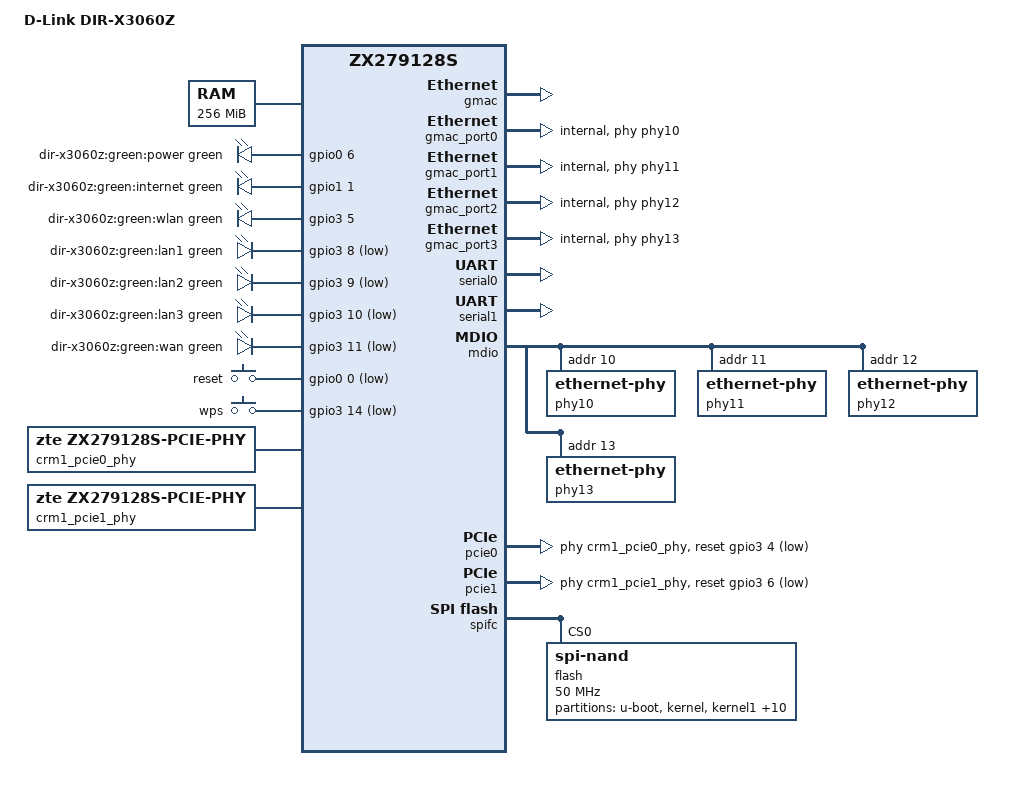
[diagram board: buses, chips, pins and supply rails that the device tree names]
// SPDX-License-Identifier: GPL-2.0-only OR BSD-2-Clause
/*
 * D-Link DIR-X3060Z (HW V1.0, TM / Unifi Malaysia AX3000 Wi-Fi 6 Router)
 * SoC       : Sanechips / ZTE ZX279128R (cputype=3, 128s family, dual Cortex-A9 @ 1 GHz, no VFP/NEON)
 * RAM       : 256 MiB DDR3 (ESMT M15T2G16128A)
 * Flash     : 128 MiB 3.3V SPI-NAND (ESMT F50L1G41LB, 2 KiB page, 128 KiB eraseblock)
 * Wi-Fi     : MediaTek Filogic 630 (MT7916AN + MT7976DN/DM, PCIe0 14c3:7906 + PCIe1 14c3:790a)
 * Ethernet  : 1x GbE WAN + 3x GbE LAN (4x integrated Sanechips GbE PHYs at MDIO 0xa..0xd)
 * Bootloader: U-Boot CTCRV1.0.0 (20220808184253, non-secure, 0x1E0 slot header + legacy uImage)
 *
 * All memory addresses, MTD partition offsets (from vmlinux 0xc042d918), MDIO PHY addresses
 * (from vmlinux uni_phy @ 0xc05d1a90 = {0x0d, 0x0a, 0x0b, 0x0c}), and GPIO tables
 * (from vmlinux 0xc05ba580 / 0xc05bab80, Board ID 0x47 ZX279128R / F628S) were verified
 * directly from a full 128 MiB flash dump of a live unit.
 */

/dts-v1/;

#include "zte/zx279128s.dtsi"
#include <dt-bindings/gpio/gpio.h>
#include <dt-bindings/input/input.h>
#include <dt-bindings/leds/common.h>

/ {
	model = "D-Link DIR-X3060Z";
	compatible = "dlink,dir-x3060z", "zte,zx279128r", "zte,zx279128s";

	aliases {
		ethernet0 = &gmac;
		serial0 = &serial0;
		serial1 = &serial1;
		led-boot = &led_power;
		led-failsafe = &led_power;
		led-running = &led_power;
		led-upgrade = &led_internet;
	};

	chosen {
		stdout-path = "serial0:115200n8";
	};

	memory@40000000 {
		device_type = "memory";
		reg = <0x40000000 0x10000000>; /* 256 MiB DDR3 */
	};

	leds {
		compatible = "gpio-leds";

		/*
		 * GPIO table extracted from stock vmlinux.bin @ 0xc05ba580 (Board ID 0x47,
		 * ZX279128R / F628S) + bspdriver.ko (hw_led_wlan_mtk -> slot 61):
		 *   Flat GPIO = bank * 16 + pin (6 banks gpio0..gpio5 of 16 lines each)
		 *   - Flat GPIO  6 (&gpio0  6): Output / Power LED (ACTIVE_HIGH, slot 53)
		 *   - Flat GPIO 17 (&gpio1  1): Output / Internet LED (ACTIVE_HIGH, slot 4)
		 *   - Flat GPIO 53 (&gpio3  5): Output / Wi-Fi LED (ACTIVE_HIGH, slot 61)
		 *   - Flat GPIO 56..59 (&gpio3 8..11): Hardware-driven GbE LAN1..3 / WAN PHY LEDs
		 */
		led_power: led-power {
			label = "dir-x3060z:green:power";
			color = <LED_COLOR_ID_GREEN>;
			function = LED_FUNCTION_POWER;
			gpios = <&gpio0 6 GPIO_ACTIVE_HIGH>;
			default-state = "on";
		};

		led_internet: led-internet {
			label = "dir-x3060z:green:internet";
			color = <LED_COLOR_ID_GREEN>;
			function = LED_FUNCTION_WAN_ONLINE;
			gpios = <&gpio1 1 GPIO_ACTIVE_HIGH>;
			default-state = "off";
		};

		led_wlan: led-wlan {
			label = "dir-x3060z:green:wlan";
			color = <LED_COLOR_ID_GREEN>;
			function = LED_FUNCTION_WLAN;
			gpios = <&gpio3 5 GPIO_ACTIVE_HIGH>;
			default-state = "off";
		};

		led_lan1: led-lan1 {
			label = "dir-x3060z:green:lan1";
			color = <LED_COLOR_ID_GREEN>;
			function = LED_FUNCTION_LAN;
			gpios = <&gpio3 8 GPIO_ACTIVE_LOW>;
			default-state = "off";
		};

		led_lan2: led-lan2 {
			label = "dir-x3060z:green:lan2";
			color = <LED_COLOR_ID_GREEN>;
			function = LED_FUNCTION_LAN;
			gpios = <&gpio3 9 GPIO_ACTIVE_LOW>;
			default-state = "off";
		};

		led_lan3: led-lan3 {
			label = "dir-x3060z:green:lan3";
			color = <LED_COLOR_ID_GREEN>;
			function = LED_FUNCTION_LAN;
			gpios = <&gpio3 10 GPIO_ACTIVE_LOW>;
			default-state = "off";
		};

		led_wan_port: led-wan-port {
			label = "dir-x3060z:green:wan";
			color = <LED_COLOR_ID_GREEN>;
			function = LED_FUNCTION_WAN;
			gpios = <&gpio3 11 GPIO_ACTIVE_LOW>;
			default-state = "off";
		};
	};

	keys {
		/*
		 * Polled mode is mandatory on ZX279128S/R: IRQ mode on the ZTE GPIO
		 * controller triggers an RCU lockup on button press.
		 * Input pins from vmlinux @ 0xc05ba690 (Board ID 0x47):
		 *   - Flat GPIO  0 (&gpio0  0): Input 1 (Reset)
		 *   - Flat GPIO 62 (&gpio3 14): Input 2 (WPS / Mesh)
		 *   - Flat GPIO  5 (&gpio0  5): Candidate Input on sibling 0x48/0x4a
		 */
		compatible = "gpio-keys-polled";
		poll-interval = <50>;

		key-reset {
			label = "reset";
			gpios = <&gpio0 0 GPIO_ACTIVE_LOW>;
			linux,code = <KEY_RESTART>;
			debounce-interval = <60>;
		};

		key-wps {
			label = "wps";
			gpios = <&gpio3 14 GPIO_ACTIVE_LOW>;
			linux,code = <KEY_WPS_BUTTON>;
			debounce-interval = <60>;
		};
	};
};

/*
 * 4x integrated Gigabit PHYs confirmed from stock vmlinux uni_phy @ 0xc05d1a90
 * ({0x0d, 0x0a, 0x0b, 0x0c}) and /proc/interrupts (gephy0..gephy3 on GIC 71..74).
 * Factory MAC addresses live inside the JFFS2 file /tagparam/paramtag (mtd "tagparam"
 * at flash offset 0x04c00000, file offset +0x36 = c8:78:7d:52:d6:04 .. +0x66 = d6:08)
 * and are applied by /etc/board.d/02_network.
 */
&gmac {
	interrupts = <GIC_SPI 36 IRQ_TYPE_LEVEL_HIGH>,
		     <GIC_SPI 38 IRQ_TYPE_LEVEL_HIGH>;
	status = "okay";
};

&gmac_port0 {
	label = "wan";
	phy-handle = <&phy10>;
	phy-mode = "internal";
	status = "okay";
};

&gmac_port1 {
	label = "lan1";
	phy-handle = <&phy11>;
	phy-mode = "internal";
	status = "okay";
};

&gmac_port2 {
	label = "lan2";
	phy-handle = <&phy12>;
	phy-mode = "internal";
	status = "okay";
};

&gmac_port3 {
	label = "lan3";
	phy-handle = <&phy13>;
	phy-mode = "internal";
	status = "okay";
};

&gmac_port4 {
	status = "disabled";
};

&serial0 {
	status = "okay";
};

&serial1 {
	status = "okay";
};

&mdio {
	status = "okay";

	phy10: ethernet-phy@a {
		reg = <10>;
	};

	phy11: ethernet-phy@b {
		reg = <11>;
	};

	phy12: ethernet-phy@c {
		reg = <12>;
	};

	phy13: ethernet-phy@d {
		reg = <13>;
	};
};

/*
 * MediaTek Filogic 630 (MT7916AN + MT7976DN/DM) dual-band Wi-Fi 6:
 *   PCIe0 (0000:00:00.0, 14c3:7906, mem 0x10000000, GIC 95) — reset GPIO 52 (&gpio3 4)
 *   PCIe1 (0000:01:00.0, 14c3:790a, mem 0x20000000, GIC 110) — reset GPIO 54 (&gpio3 6)
 * Calibration data is stored in mtd "wlan" (0x05400000) as /wlan/MT7916_EEPROM.bin.
 */
&pcie0 {
	reset-gpios = <&gpio3 4 GPIO_ACTIVE_LOW>;
	enable-gpios = <&gpio3 7 GPIO_ACTIVE_HIGH>;
	phys = <&crm1_pcie0_phy>;
	phy-names = "pcie";
	status = "okay";
};

&pcie1 {
	reset-gpios = <&gpio3 6 GPIO_ACTIVE_LOW>;
	phys = <&crm1_pcie1_phy>;
	phy-names = "pcie";
	status = "okay";
};

/ {
	soc {
		crm1: syscon@94000000 {
			compatible = "syscon", "simple-mfd";
			reg = <0x94000000 0x1000>;
			#address-cells = <1>;
			#size-cells = <0>;

			reboot {
				compatible = "syscon-reboot";
				offset = <0x44>;
				mask = <0x1>;
				value = <0x1>;
			};

			crm1_pcie0_phy: phy@0 {
				compatible = "zte,zx279128s-pcie-phy";
				reg = <0>;
				#phy-cells = <0>;
			};

			crm1_pcie1_phy: phy@1 {
				compatible = "zte,zx279128s-pcie-phy";
				reg = <1>;
				#phy-cells = <0>;
			};
		};
	};
};

/* No USB port is populated on the DIR-X3060Z PCB. */
&usb {
	status = "disabled";
};

&spifc {
	status = "okay";

	flash@0 {
		compatible = "spi-nand";
		reg = <0>;
		spi-max-frequency = <50000000>;
		spi-rx-bus-width = <2>;
		spi-tx-bus-width = <1>;

		/*
		 * ESMT F50L1G41LB (128 MiB, 2 KiB page, 128 KiB erase block).
		 *
		 * Exact hardware partition table extracted from stock vmlinux.bin @ 0xc042d918:
		 *   0x00000000 .. 0x00200000 ( 2 MiB): u-boot          (stock mtd1)
		 *   0x00200000 .. 0x00700000 ( 5 MiB): kernel0         (stock mtd3, Slot 0 kernel)
		 *   0x00700000 .. 0x00c00000 ( 5 MiB): kernel1         (stock mtd4, Slot 1 kernel)
		 *   0x00c00000 .. 0x02c00000 (32 MiB): rootfs0         (stock mtd5, Slot 0 rootfs)
		 *   0x02c00000 .. 0x04c00000 (32 MiB): rootfs1         (stock mtd6, Slot 1 rootfs)
		 *   0x04c00000 .. 0x04e00000 ( 2 MiB): parameter_tags  (stock mtd2, /tagparam JFFS2)
		 *   0x04e00000 .. 0x05300000 ( 5 MiB): usercfg         (stock mtd7, /userconfig JFFS2)
		 *   0x05300000 .. 0x05400000 ( 1 MiB): others          (stock mtd8, BootImageNum selector)
		 *   0x05400000 .. 0x05700000 ( 3 MiB): wlan            (stock mtd9, /wlan JFFS2 caldata)
		 *   0x05700000 .. 0x05800000 ( 1 MiB): middleware      (stock mtd10)
		 *   0x05800000 .. 0x06000000 ( 8 MiB): framework       (stock mtd11)
		 *   0x06000000 .. 0x06800000 ( 8 MiB): framework1      (stock mtd12)
		 *   0x06800000 .. 0x07800000 (16 MiB): apps            (stock mtd13, UBIFS)
		 *   0x07800000 .. 0x08000000 ( 8 MiB): BBT / reserved
		 *
		 * OpenWrt is installed in Slot 0 (kernel @ 0x00200000 + rootfs @ 0x00c00000),
		 * preserving the active stock firmware in Slot 1 (kernel1 @ 0x00700000 +
		 * rootfs1 @ 0x02c00000) untouched for dual-slot rollback via "others".
		 * Unlike the E2631, U-Boot CTCRV1.0.0 only checks the 0x1E0 header CRC and
		 * kernel CRC at boot time (never rootfs CRC), so OpenWrt's standard squashfs +
		 * rootfs_data JFFS2 split operates across the full 32 MiB Slot 0 rootfs partition.
		 */
		partitions {
			compatible = "fixed-partitions";
			#address-cells = <1>;
			#size-cells = <1>;

			partition@0 {
				label = "u-boot";
				reg = <0x00000000 0x00200000>;
				read-only;
			};

			partition@200000 {
				label = "kernel";
				reg = <0x00200000 0x00500000>;
			};

			partition@700000 {
				label = "kernel1";
				reg = <0x00700000 0x00500000>;
				read-only;
			};

			partition@c00000 {
				label = "rootfs";
				reg = <0x00c00000 0x02000000>;
			};

			partition@2c00000 {
				label = "rootfs1";
				reg = <0x02c00000 0x02000000>;
				read-only;
			};

			partition@4c00000 {
				/* JFFS2 mounted by vendor at /tagparam; holds paramtag (MACs) */
				label = "tagparam";
				reg = <0x04c00000 0x00200000>;
			};

			partition@4e00000 {
				label = "usercfg";
				reg = <0x04e00000 0x00500000>;
				read-only;
			};

			partition@5300000 {
				/* Holds FrwPartion=0x...,BootImageNum=0x... dual-slot selector */
				label = "others";
				reg = <0x05300000 0x00100000>;
			};

			partition@5400000 {
				/* JFFS2 mounted by vendor at /wlan; holds MT7916_EEPROM.bin */
				label = "wlan";
				reg = <0x05400000 0x00300000>;
			};

			partition@5700000 {
				label = "middleware";
				reg = <0x05700000 0x00100000>;
				read-only;
			};

			partition@5800000 {
				label = "framework";
				reg = <0x05800000 0x00800000>;
				read-only;
			};

			partition@6000000 {
				label = "framework1";
				reg = <0x06000000 0x00800000>;
				read-only;
			};

			partition@6800000 {
				label = "apps";
				reg = <0x06800000 0x01000000>;
			};
		};
	};
};

&l2cc {
	zte,l2c-io-read-lock;
};

/ {
	soc {
		soc_thermal: temp@94100034 {
			compatible = "zxic,tempsensor";
			reg = <0x94100034 0xc>;
			#thermal-sensor-cells = <0>;
		};
	};

	thermal-zones {
		soc-thermal {
			polling-delay-passive = <2000>;
			polling-delay = <5000>;
			thermal-sensors = <&soc_thermal>;

			trips {
				soc_crit: crit {
					temperature = <110000>;
					hysteresis = <5000>;
					type = "critical";
				};
			};
		};
	};
};
